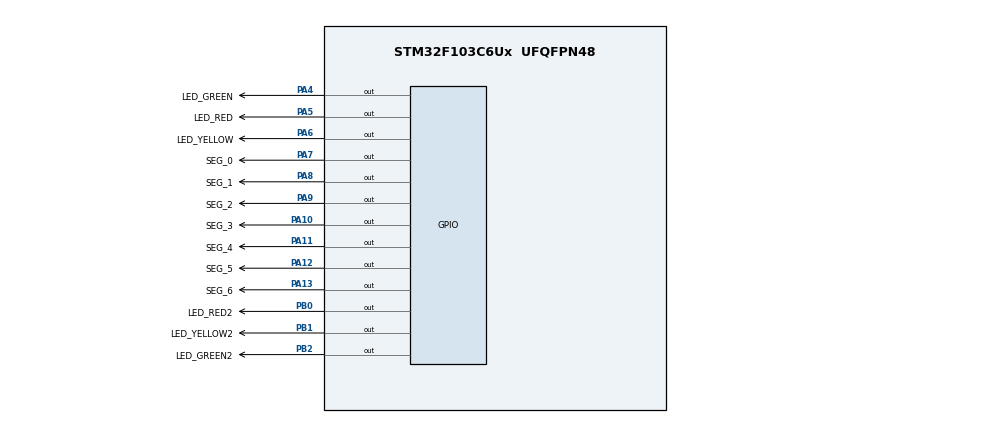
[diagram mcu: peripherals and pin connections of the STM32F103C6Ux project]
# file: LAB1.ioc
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Mcu.Family=STM32F1
Mcu.Name=STM32F103C6Ux
Mcu.Package=UFQFPN48
NVIC.PriorityGroup=NVIC_PRIORITYGROUP_4
PA10.GPIO_Label=SEG_3
PA10.Signal=GPIO_Output
PA11.GPIO_Label=SEG_4
PA11.Signal=GPIO_Output
PA12.GPIO_Label=SEG_5
PA12.Signal=GPIO_Output
PA13.GPIO_Label=SEG_6
PA13.Signal=GPIO_Output
PA4.GPIO_Label=LED_GREEN
PA4.Signal=GPIO_Output
PA5.GPIO_Label=LED_RED
PA5.Signal=GPIO_Output
PA6.GPIO_Label=LED_YELLOW
PA6.Signal=GPIO_Output
PA7.GPIO_Label=SEG_0
PA7.Signal=GPIO_Output
PA8.GPIO_Label=SEG_1
PA8.Signal=GPIO_Output
PA9.GPIO_Label=SEG_2
PA9.Signal=GPIO_Output
PB0.GPIO_Label=LED_RED2
PB0.Signal=GPIO_Output
PB1.GPIO_Label=LED_YELLOW2
PB1.Signal=GPIO_Output
PB2.GPIO_Label=LED_GREEN2
PB2.Signal=GPIO_Output
ProjectManager.HeapSize=0x200
ProjectManager.StackSize=0x400
ProjectManager.TargetToolchain=STM32CubeIDE
RCC.APB1Freq_Value=8000000
RCC.APB2Freq_Value=8000000
VP_SYS_VS_ND.Mode=No_Debug
board=custom

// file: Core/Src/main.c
/* USER CODE BEGIN Header */
/**
  ******************************************************************************
  * @file           : main.c
  * @brief          : Main program body
  ******************************************************************************
  * @attention
  *
  * <h2><center>&copy; Copyright (c) 2024 STMicroelectronics.
  * All rights reserved.</center></h2>
  *
  * This software component is licensed by ST under BSD 3-Clause license,
  * the "License"; You may not use this file except in compliance with the
  * License. You may obtain a copy of the License at:
  *                        opensource.org/licenses/BSD-3-Clause
  *
  ******************************************************************************
  */
/* USER CODE END Header */
#include "main.h"

void SystemClock_Config(void);
static void MX_GPIO_Init(void);

int main(void)
{

  /* MCU Configuration--------------------------------------------------------*/

  /* Reset of all peripherals, Initializes the Flash interface and the Systick. */
  HAL_Init();

  /* Configure the system clock */
  SystemClock_Config();

  /* Initialize all configured peripherals */
  MX_GPIO_Init();

  /* Infinite loop */
  /* USER CODE BEGIN WHILE */

  uint8_t segmentCode[10] = {
      0xC0,
      0xF9,
      0xA4,
      0xB0,
      0x99,
      0x92,
      0x82,
      0xF8,
      0x80,
      0x90
  };

  void display7SEG(int num)
  {
  	if (num < 0 || num > 9) return;
  	    uint8_t code = segmentCode[num];

		HAL_GPIO_WritePin(GPIOA, SEG_0_Pin, (code & 0x01) ? GPIO_PIN_SET : GPIO_PIN_RESET);
		HAL_GPIO_WritePin(GPIOA, SEG_1_Pin, (code & 0x02) ? GPIO_PIN_SET : GPIO_PIN_RESET);
		HAL_GPIO_WritePin(GPIOA, SEG_2_Pin, (code & 0x04) ? GPIO_PIN_SET : GPIO_PIN_RESET);
		HAL_GPIO_WritePin(GPIOA, SEG_3_Pin, (code & 0x08) ? GPIO_PIN_SET : GPIO_PIN_RESET);
		HAL_GPIO_WritePin(GPIOA, SEG_4_Pin, (code & 0x10) ? GPIO_PIN_SET : GPIO_PIN_RESET);
		HAL_GPIO_WritePin(GPIOA, SEG_5_Pin, (code & 0x20) ? GPIO_PIN_SET : GPIO_PIN_RESET);
		HAL_GPIO_WritePin(GPIOA, SEG_6_Pin, (code & 0x40) ? GPIO_PIN_SET : GPIO_PIN_RESET);
  	}

int counter = 5;
while (1)
{
  	  for (int i = 3; i < 6; i++)
		{
  	        // red1, green2 3s
  	        HAL_GPIO_WritePin(LED_RED_GPIO_Port, LED_RED_Pin, GPIO_PIN_SET);
  	        HAL_GPIO_WritePin(LED_YELLOW_GPIO_Port, LED_YELLOW_Pin, GPIO_PIN_RESET);
  	        HAL_GPIO_WritePin(LED_GREEN_GPIO_Port, LED_GREEN_Pin, GPIO_PIN_RESET);

  	        HAL_GPIO_WritePin(LED_RED2_GPIO_Port, LED_RED2_Pin, GPIO_PIN_RESET);
  	        HAL_GPIO_WritePin(LED_YELLOW2_GPIO_Port, LED_YELLOW2_Pin, GPIO_PIN_RESET);
  	        HAL_GPIO_WritePin(LED_GREEN2_GPIO_Port, LED_GREEN2_Pin, GPIO_PIN_SET);

			display7SEG(counter--);
			if (counter < 1) counter = 5;
			HAL_Delay(1000);
  	    }

  	  for (int i = 1; i < 3; i++)
  	    {
            // red1, yellow2 2s
            HAL_GPIO_WritePin(LED_RED_GPIO_Port, LED_RED_Pin, GPIO_PIN_SET);
            HAL_GPIO_WritePin(LED_YELLOW_GPIO_Port, LED_YELLOW_Pin, GPIO_PIN_RESET);
            HAL_GPIO_WritePin(LED_GREEN_GPIO_Port, LED_GREEN_Pin, GPIO_PIN_RESET);

            HAL_GPIO_WritePin(LED_RED2_GPIO_Port, LED_RED2_Pin, GPIO_PIN_RESET);
            HAL_GPIO_WritePin(LED_YELLOW2_GPIO_Port, LED_YELLOW2_Pin, GPIO_PIN_SET);
            HAL_GPIO_WritePin(LED_GREEN2_GPIO_Port, LED_GREEN2_Pin, GPIO_PIN_RESET);

            display7SEG(counter--);
            if (counter < 1) counter = 5;
            HAL_Delay(1000);
        }

  	  for (int i = 3; i < 6; i++)
  			{
            // green1, red2 3s
            HAL_GPIO_WritePin(LED_RED_GPIO_Port, LED_RED_Pin, GPIO_PIN_RESET);
            HAL_GPIO_WritePin(LED_YELLOW_GPIO_Port, LED_YELLOW_Pin, GPIO_PIN_RESET);
            HAL_GPIO_WritePin(LED_GREEN_GPIO_Port, LED_GREEN_Pin, GPIO_PIN_SET);

            HAL_GPIO_WritePin(LED_RED2_GPIO_Port, LED_RED2_Pin, GPIO_PIN_SET);
            HAL_GPIO_WritePin(LED_YELLOW2_GPIO_Port, LED_YELLOW2_Pin, GPIO_PIN_RESET);
            HAL_GPIO_WritePin(LED_GREEN2_GPIO_Port, LED_GREEN2_Pin, GPIO_PIN_RESET);

            display7SEG(counter--);
            if (counter < 1) counter = 5;
            HAL_Delay(1000);
        }

  	  for (int i = 1; i < 3; i++)
  	  {
            // yellow1, red2 2s
            HAL_GPIO_WritePin(LED_RED_GPIO_Port, LED_RED_Pin, GPIO_PIN_RESET);
            HAL_GPIO_WritePin(LED_YELLOW_GPIO_Port, LED_YELLOW_Pin, GPIO_PIN_SET);
            HAL_GPIO_WritePin(LED_GREEN_GPIO_Port, LED_GREEN_Pin, GPIO_PIN_RESET);

            HAL_GPIO_WritePin(LED_RED2_GPIO_Port, LED_RED2_Pin, GPIO_PIN_SET);
            HAL_GPIO_WritePin(LED_YELLOW2_GPIO_Port, LED_YELLOW2_Pin, GPIO_PIN_RESET);
            HAL_GPIO_WritePin(LED_GREEN2_GPIO_Port, LED_GREEN2_Pin, GPIO_PIN_RESET);

			display7SEG(counter--);
			if (counter < 1) counter = 5;
			 HAL_Delay(1000);
        }

    /* USER CODE END WHILE */

  }
}

void SystemClock_Config(void)
{
  RCC_OscInitTypeDef RCC_OscInitStruct = {0};
  RCC_ClkInitTypeDef RCC_ClkInitStruct = {0};

  /** Initializes the RCC Oscillators according to the specified parameters
  * in the RCC_OscInitTypeDef structure.
  */
  RCC_OscInitStruct.OscillatorType = RCC_OSCILLATORTYPE_HSI;
  RCC_OscInitStruct.HSIState = RCC_HSI_ON;
  RCC_OscInitStruct.HSICalibrationValue = RCC_HSICALIBRATION_DEFAULT;
  RCC_OscInitStruct.PLL.PLLState = RCC_PLL_NONE;
  if (HAL_RCC_OscConfig(&RCC_OscInitStruct) != HAL_OK)
  {
    Error_Handler();
  }
  /** Initializes the CPU, AHB and APB buses clocks
  */
  RCC_ClkInitStruct.ClockType = RCC_CLOCKTYPE_HCLK|RCC_CLOCKTYPE_SYSCLK
                              |RCC_CLOCKTYPE_PCLK1|RCC_CLOCKTYPE_PCLK2;
  RCC_ClkInitStruct.SYSCLKSource = RCC_SYSCLKSOURCE_HSI;
  RCC_ClkInitStruct.AHBCLKDivider = RCC_SYSCLK_DIV1;
  RCC_ClkInitStruct.APB1CLKDivider = RCC_HCLK_DIV1;
  RCC_ClkInitStruct.APB2CLKDivider = RCC_HCLK_DIV1;

  if (HAL_RCC_ClockConfig(&RCC_ClkInitStruct, FLASH_LATENCY_0) != HAL_OK)
  {
    Error_Handler();
  }
}

static void MX_GPIO_Init(void)
{
  GPIO_InitTypeDef GPIO_InitStruct = {0};

  /* GPIO Ports Clock Enable */
  __HAL_RCC_GPIOA_CLK_ENABLE();
  __HAL_RCC_GPIOB_CLK_ENABLE();

  /*Configure GPIO pin Output Level */
  HAL_GPIO_WritePin(GPIOA, LED_GREEN_Pin|LED_RED_Pin|LED_YELLOW_Pin|SEG_0_Pin
                          |SEG_1_Pin|SEG_2_Pin|SEG_3_Pin|SEG_4_Pin
                          |SEG_5_Pin|SEG_6_Pin, GPIO_PIN_RESET);

  /*Configure GPIO pin Output Level */
  HAL_GPIO_WritePin(GPIOB, LED_RED2_Pin|LED_YELLOW2_Pin|LED_GREEN2_Pin, GPIO_PIN_RESET);

  /*Configure GPIO pins : LED_GREEN_Pin LED_RED_Pin LED_YELLOW_Pin SEG_0_Pin
                           SEG_1_Pin SEG_2_Pin SEG_3_Pin SEG_4_Pin
                           SEG_5_Pin SEG_6_Pin */
  GPIO_InitStruct.Pin = LED_GREEN_Pin|LED_RED_Pin|LED_YELLOW_Pin|SEG_0_Pin
                          |SEG_1_Pin|SEG_2_Pin|SEG_3_Pin|SEG_4_Pin
                          |SEG_5_Pin|SEG_6_Pin;
  GPIO_InitStruct.Mode = GPIO_MODE_OUTPUT_PP;
  GPIO_InitStruct.Pull = GPIO_NOPULL;
  GPIO_InitStruct.Speed = GPIO_SPEED_FREQ_LOW;
  HAL_GPIO_Init(GPIOA, &GPIO_InitStruct);

  /*Configure GPIO pins : LED_RED2_Pin LED_YELLOW2_Pin LED_GREEN2_Pin */
  GPIO_InitStruct.Pin = LED_RED2_Pin|LED_YELLOW2_Pin|LED_GREEN2_Pin;
  GPIO_InitStruct.Mode = GPIO_MODE_OUTPUT_PP;
  GPIO_InitStruct.Pull = GPIO_NOPULL;
  GPIO_InitStruct.Speed = GPIO_SPEED_FREQ_LOW;
  HAL_GPIO_Init(GPIOB, &GPIO_InitStruct);

}

void Error_Handler(void)
{
  __disable_irq();
  while (1)
  {
  }
}

/************************ (C) COPYRIGHT STMicroelectronics *****END OF FILE****/
